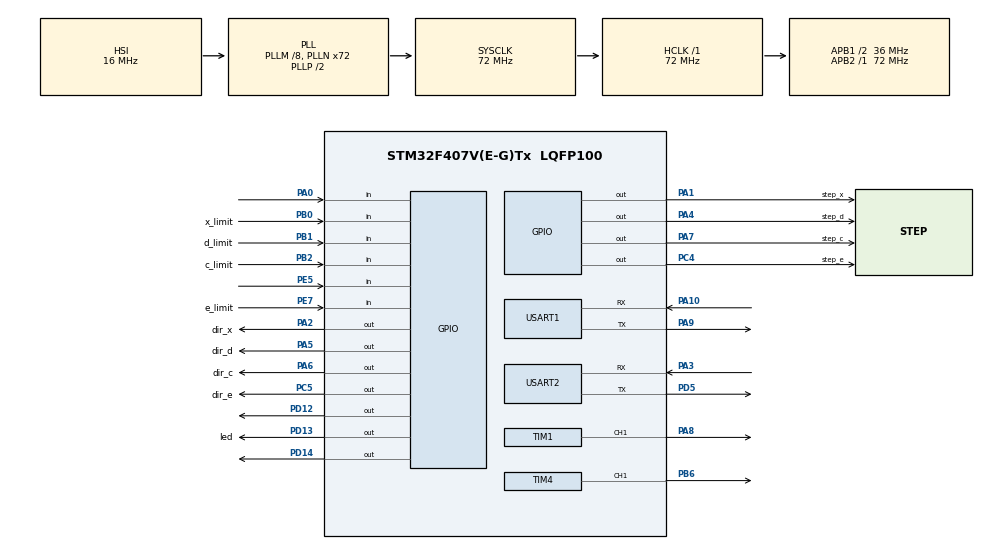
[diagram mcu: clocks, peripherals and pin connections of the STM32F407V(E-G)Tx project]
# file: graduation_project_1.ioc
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Mcu.Family=STM32F4
Mcu.Name=STM32F407V(E-G)Tx
Mcu.Package=LQFP100
NVIC.PriorityGroup=NVIC_PRIORITYGROUP_4
NVIC.USART1_IRQn=true\:0\:0\:false\:false\:true\:true\:true\:true
NVIC.USART2_IRQn=true\:0\:0\:false\:false\:true\:true\:true\:true
PA0-WKUP.Signal=GPIO_Input
PA1.GPIO_Label=step_x
PA1.Signal=GPIO_Output
PA10.Mode=Asynchronous
PA10.Signal=USART1_RX
PA13.Mode=Serial_Wire
PA13.Signal=SYS_JTMS-SWDIO
PA14.Mode=Serial_Wire
PA14.Signal=SYS_JTCK-SWCLK
PA2.GPIO_Label=dir_x
PA2.Signal=GPIO_Output
PA3.Mode=Asynchronous
PA3.Signal=USART2_RX
PA4.GPIO_Label=step_d
PA4.Signal=GPIO_Output
PA5.GPIO_Label=dir_d
PA5.Signal=GPIO_Output
PA6.GPIO_Label=dir_c
PA6.Signal=GPIO_Output
PA7.GPIO_Label=step_c
PA7.Signal=GPIO_Output
PA8.Signal=S_TIM1_CH1
PA9.Mode=Asynchronous
PA9.Signal=USART1_TX
PB0.GPIO_Label=x_limit
PB0.Signal=GPIO_Input
PB1.GPIO_Label=d_limit
PB1.Signal=GPIO_Input
PB2.GPIO_Label=c_limit
PB2.Signal=GPIO_Input
PB6.Signal=S_TIM4_CH1
PC4.GPIO_Label=step_e
PC4.Signal=GPIO_Output
PC5.GPIO_Label=dir_e
PC5.Signal=GPIO_Output
PD12.Signal=GPIO_Output
PD13.GPIO_Label=led
PD13.Signal=GPIO_Output
PD14.Signal=GPIO_Output
PD5.Mode=Asynchronous
PD5.Signal=USART2_TX
PE5.Signal=GPIO_Input
PE7.GPIO_Label=e_limit
PE7.Signal=GPIO_Input
PH0-OSC_IN.Mode=HSE-External-Oscillator
PH0-OSC_IN.Signal=RCC_OSC_IN
PH1-OSC_OUT.Mode=HSE-External-Oscillator
PH1-OSC_OUT.Signal=RCC_OSC_OUT
ProjectManager.HeapSize=0x200
ProjectManager.StackSize=0x400
ProjectManager.TargetToolchain=STM32CubeIDE
RCC.48MHZClocksFreq_Value=36000000
RCC.AHBFreq_Value=72000000
RCC.APB1CLKDivider=RCC_HCLK_DIV2
RCC.APB1Freq_Value=36000000
RCC.APB1TimFreq_Value=72000000
RCC.APB2Freq_Value=72000000
RCC.APB2TimFreq_Value=72000000
RCC.CortexFreq_Value=72000000
RCC.HCLKFreq_Value=72000000
RCC.HSE_VALUE=25000000
RCC.HSI_VALUE=16000000
RCC.LSE_VALUE=32768
RCC.PLLM=8
RCC.PLLN=72
RCC.SYSCLKFreq_VALUE=72000000
RCC.SYSCLKSource=RCC_SYSCLKSOURCE_PLLCLK
RCC.VCOOutputFreq_Value=144000000
SH.S_TIM1_CH1.0=TIM1_CH1,Output Compare1 CH1
SH.S_TIM4_CH1.0=TIM4_CH1,Output Compare1 CH1
TIM1.Channel-Output\ Compare1\ CH1=TIM_CHANNEL_1
TIM1.Period=0xffff-1
TIM1.Prescaler=72-1
TIM4.Channel-Output\ Compare1\ CH1=TIM_CHANNEL_1
USART1.VirtualMode=VM_ASYNC
USART2.VirtualMode=VM_ASYNC
VP_TIM1_VS_ClockSourceINT.Mode=Internal
board=custom

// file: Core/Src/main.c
/* USER CODE BEGIN Header */
/**
  ******************************************************************************
  * @file           : main.c
  * @brief          : Main program body
  ******************************************************************************
  * @attention
  *
  * Copyright (c) 2023 STMicroelectronics.
  * All rights reserved.
  *
  * This software is licensed under terms that can be found in the LICENSE file
  * in the root directory of this software component.
  * If no LICENSE file comes with this software, it is provided AS-IS.
  *
  ******************************************************************************
  */
/* USER CODE END Header */
#include "main.h"

/* USER CODE BEGIN Includes */
#include "string.h"
#include <stdio.h>
#include <stdlib.h>
/* USER CODE END Includes */

TIM_HandleTypeDef htim1;
TIM_HandleTypeDef htim4;

UART_HandleTypeDef huart1;
UART_HandleTypeDef huart2;

void SystemClock_Config(void);
static void MX_GPIO_Init(void);
static void MX_USART1_UART_Init(void);
static void MX_TIM1_Init(void);
static void MX_USART2_UART_Init(void);
static void MX_TIM4_Init(void);
/* USER CODE BEGIN PFP */
uint16_t timer_value;
char  *limit_message_y="X EKSENI SINIRDA!!!!!!!\n";
int stepNumber_x,stepNumber_e,stepNumber_d,stepNumber_c,rx_for_set[15];
float current_angel_x=0,current_angel_e=0,current_angel_c=0,current_angel_d=0;
int x_direction_flag_forward=0,x_direction_flag_backward=0,e_direction_flag_forward=0,e_direction_flag_backward=0,d_direction_flag_forward=0,d_direction_flag_backward=0,c_direction_flag_forward=0,c_direction_flag_backward=0;
uint8_t rx_tem_buffer[15],rx_buffer[15];
int interup_counter=0,tem_interup_counter=0;
int rx_step_x_int[2],rx_step_x_angel=0,step_num_check_x=0,step_num_check_e=0,step_num_check_d=0,step_num_check_c=0,for_counter_1=0,set_for_i_yeni_3=0,rx_for_set_int[5],rx_for_set_integer=0;
int rx_step_e_angel=0,rx_step_d_angel=0,rx_step_c_angel=0,rx_step_e_int[2],rx_step_d_int[2],rx_step_c_int[2];
int switch_konum_x=0,switch_konum_d=0,switch_konum_c=0,switch_konum_e=0;

/* USER CODE END PFP */

/* USER CODE BEGIN 0 */
void delay_us (uint16_t us)
{
	__HAL_TIM_SET_COUNTER(&htim1,0);  // set the counter value a 0
	while (__HAL_TIM_GET_COUNTER(&htim1) < us);  // wait for the counter to reach the us input in the parameter
	timer_value=__HAL_TIM_GET_COUNTER(&htim1);
}
//MOTOR X KONTROL SWITCH CASE
void fullStepRotate_x(int step){

			switch(step){

			case 0:
				HAL_GPIO_WritePin(GPIOA, GPIO_PIN_1, GPIO_PIN_SET);

			break;
		  case 1:
				HAL_GPIO_WritePin(GPIOA, GPIO_PIN_1, GPIO_PIN_RESET);

			break;
		}

	}
void move_function(){
	for(int i=0;i<5;i++){
//base motor function
	for(int seq=0; seq<=1500; seq++){
		if(HAL_GPIO_ReadPin(e_limit_GPIO_Port, e_limit_Pin)){
			break;
		}
		  HAL_GPIO_WritePin(GPIOC,dir_e_Pin,GPIO_PIN_SET);

		HAL_GPIO_WritePin(step_e_GPIO_Port,step_e_Pin ,GPIO_PIN_SET);
		delay_us(5000);
		HAL_GPIO_WritePin(step_e_GPIO_Port,step_e_Pin ,GPIO_PIN_RESET);
		delay_us(5000);
	}
	// motor d function

	for(int i=0;i<2000;i++){
		if(HAL_GPIO_ReadPin(d_limit_GPIO_Port, d_limit_Pin)){
			break;
		}

		HAL_GPIO_WritePin(dir_d_GPIO_Port,dir_d_Pin,GPIO_PIN_RESET);
		HAL_GPIO_WritePin(step_d_GPIO_Port,step_d_Pin ,GPIO_PIN_SET);
		delay_us(1000);
		HAL_GPIO_WritePin(step_d_GPIO_Port,step_d_Pin ,GPIO_PIN_RESET);
		delay_us(1000);
	}
	// motor x function
	for(int i=0;i<3400;i++){
		if(HAL_GPIO_ReadPin(x_limit_GPIO_Port, x_limit_Pin)){
			break;
		}
		HAL_GPIO_WritePin(dir_x_GPIO_Port,dir_x_Pin,GPIO_PIN_RESET);
		HAL_GPIO_WritePin(step_x_GPIO_Port,step_x_Pin ,GPIO_PIN_SET);
		delay_us(1000);
		HAL_GPIO_WritePin(step_x_GPIO_Port,step_x_Pin ,GPIO_PIN_RESET);
		delay_us(1000);
	}

	// motor x function

	// motor x function
	for(int i=0;i<1500;i++){
		if(HAL_GPIO_ReadPin(e_limit_GPIO_Port, e_limit_Pin)){
			break;
		}
		  HAL_GPIO_WritePin(GPIOC,dir_e_Pin,GPIO_PIN_RESET);

		HAL_GPIO_WritePin(step_e_GPIO_Port,step_e_Pin ,GPIO_PIN_SET);
		delay_us(5000);
		HAL_GPIO_WritePin(step_e_GPIO_Port,step_e_Pin ,GPIO_PIN_RESET);
		delay_us(5000);
	}
		for(int i=0;i<3400;i++){
		if(HAL_GPIO_ReadPin(x_limit_GPIO_Port, x_limit_Pin)){
			break;
		}
		HAL_GPIO_WritePin(dir_x_GPIO_Port,dir_x_Pin,GPIO_PIN_SET);

		HAL_GPIO_WritePin(step_x_GPIO_Port,step_x_Pin ,GPIO_PIN_SET);
		delay_us(1000);
		HAL_GPIO_WritePin(step_x_GPIO_Port,step_x_Pin ,GPIO_PIN_RESET);
		delay_us(1000);
	}
	//GERİ DÖNÜŞ
	for(int seq=0; seq<=1500; seq++){
		if(HAL_GPIO_ReadPin(e_limit_GPIO_Port, e_limit_Pin)){
			break;
		}
		  HAL_GPIO_WritePin(GPIOC,dir_e_Pin,GPIO_PIN_SET);

		HAL_GPIO_WritePin(step_e_GPIO_Port,step_e_Pin ,GPIO_PIN_SET);
		delay_us(5000);
		HAL_GPIO_WritePin(step_e_GPIO_Port,step_e_Pin ,GPIO_PIN_RESET);
		delay_us(5000);
	}
	// motor d function

	for(int i=0;i<2000;i++){
		if(HAL_GPIO_ReadPin(d_limit_GPIO_Port, d_limit_Pin)){
			break;
		}
		HAL_GPIO_WritePin(dir_d_GPIO_Port,dir_d_Pin,GPIO_PIN_SET);

		HAL_GPIO_WritePin(step_d_GPIO_Port,step_d_Pin ,GPIO_PIN_SET);
		delay_us(1000);
		HAL_GPIO_WritePin(step_d_GPIO_Port,step_d_Pin ,GPIO_PIN_RESET);
		delay_us(1000);
	}
	// motor x function
	for(int i=0;i<3400;i++){
		if(HAL_GPIO_ReadPin(x_limit_GPIO_Port, x_limit_Pin)){
			break;
		}
		HAL_GPIO_WritePin(dir_x_GPIO_Port,dir_x_Pin,GPIO_PIN_SET);

		HAL_GPIO_WritePin(step_x_GPIO_Port,step_x_Pin ,GPIO_PIN_SET);
		delay_us(1000);
		HAL_GPIO_WritePin(step_x_GPIO_Port,step_x_Pin ,GPIO_PIN_RESET);
		delay_us(1000);
	}

	// motor x function

	// motor e function
	for(int i=0;i<1500;i++){
		HAL_GPIO_WritePin(step_e_GPIO_Port,step_e_Pin ,GPIO_PIN_SET);
		delay_us(5000);
		HAL_GPIO_WritePin(step_e_GPIO_Port,step_e_Pin ,GPIO_PIN_RESET);
		delay_us(5000);
	}
	for(int i=0;i<3000;i++){
		if(HAL_GPIO_ReadPin(x_limit_GPIO_Port, x_limit_Pin)){
			break;
		}
		HAL_GPIO_WritePin(dir_d_GPIO_Port,dir_d_Pin,GPIO_PIN_RESET);

		HAL_GPIO_WritePin(step_x_GPIO_Port,step_x_Pin ,GPIO_PIN_SET);
		delay_us(1000);
		HAL_GPIO_WritePin(step_x_GPIO_Port,step_x_Pin ,GPIO_PIN_RESET);
		delay_us(1000);
	}

	}
}
void setStepper_x(int angle,int direction,int speed){
	float perAngle=1.8;//  360/200=1.8(per step angle)
	stepNumber_x=(int)(angle/perAngle);

	for(int seq=0; seq<=stepNumber_x; seq++){

		if(current_angel_x>8000){
			if(direction==1){// saat yonunun tersi
				HAL_GPIO_WritePin(GPIOA, GPIO_PIN_2, GPIO_PIN_SET);
				for(int step=4; step>=0; step--){
					if(HAL_GPIO_ReadPin(x_limit_GPIO_Port,x_limit_Pin)){
								current_angel_x=0;
								break;
							}

					fullStepRotate_x(step);
					x_direction_flag_backward=1;
					x_direction_flag_forward=0;
					delay_us(1000);
				}
				current_angel_x-=1.8;

		}
			break;
		}

		if(current_angel_x<8000){

			if(direction==0){
				HAL_GPIO_WritePin(GPIOA, dir_x_Pin, GPIO_PIN_RESET);
				HAL_GPIO_WritePin(GPIOD, GPIO_PIN_12, GPIO_PIN_RESET);

				for(int step=0; step<2; step++){//saat yonunde

					fullStepRotate_x(step);
					x_direction_flag_forward=1;
					x_direction_flag_backward=0;

					delay_us(1000);
				}
				current_angel_x+=1.8;

			}else if(direction==1){// saat yonunun tersi
				HAL_GPIO_WritePin(GPIOA, dir_x_Pin, GPIO_PIN_SET);
				HAL_GPIO_WritePin(GPIOD, GPIO_PIN_12, GPIO_PIN_SET);

				for(int step=0; step<2; step++){
					if(HAL_GPIO_ReadPin(x_limit_GPIO_Port,x_limit_Pin)){
								current_angel_x=0;

								break;

					}			fullStepRotate_x(step);
								x_direction_flag_backward=1;
								x_direction_flag_forward=0;
								delay_us(1000);

				}
				current_angel_x-=1.8;

			}

		}
		else{
			HAL_UART_Transmit(&huart1, (uint8_t*)limit_message_y,strlen(limit_message_y),100);

			if(direction==1){
				HAL_GPIO_WritePin(GPIOA, GPIO_PIN_2, GPIO_PIN_SET);

				for(int step=0; step<2; step++){
					fullStepRotate_x(step);
					delay_us(5000);
					x_direction_flag_backward=1;
					x_direction_flag_forward=0;
			}
				current_angel_x-=1.8;

		}
	}

}
	if(x_direction_flag_forward==1&&x_direction_flag_backward==0){
		//current_angel_x+=angle;
		x_direction_flag_forward=0;
		x_direction_flag_backward=0;
	}
	else if (x_direction_flag_forward==0&&x_direction_flag_backward==1){
		//current_angel_x-=angle;
		x_direction_flag_forward=0;
		x_direction_flag_backward=0;
	}
}

//MOTOR E KONTROL SWITCH CASE
void fullStepRotate_e(int step){

		switch(step){

			case 0:
				HAL_GPIO_WritePin(step_e_GPIO_Port,step_e_Pin, GPIO_PIN_SET);

			break;
		  case 1:
				HAL_GPIO_WritePin(step_e_GPIO_Port,step_e_Pin, GPIO_PIN_RESET);

			break;
		}

	}
//MOTOR D KONTROL SWITCH CASE

void fullStepRotate_d(int step){

		switch(step){

			case 0:
				HAL_GPIO_WritePin(GPIOA, step_d_Pin, GPIO_PIN_SET);

			break;
		  case 1:
				HAL_GPIO_WritePin(GPIOA, step_d_Pin, GPIO_PIN_RESET);

			break;
		}

	}
//MOTOR C KONTROL SWITCH CASE

void fullStepRotate_c(int step){

		switch(step){

			case 0:
				HAL_GPIO_WritePin(GPIOA, step_c_Pin, GPIO_PIN_SET);

			break;
		  case 1:
				HAL_GPIO_WritePin(GPIOA, step_c_Pin, GPIO_PIN_RESET);

			break;
		}

	}
void setStepper_e(int angle,int direction,int speed){
	float perAngle=1.8;//  360/200=1.8(per step angle)
	stepNumber_e=(int)(angle/perAngle);

	for(int seq=0; seq<=stepNumber_e; seq++){

		if(current_angel_e>18300){
			if(direction==1){// saat yonunun tersi
				HAL_GPIO_WritePin(dir_e_GPIO_Port, dir_e_Pin, GPIO_PIN_SET);

				for(int step=0; step<2; step++){
					fullStepRotate_e(step);
					e_direction_flag_backward=1;
					e_direction_flag_forward=0;
					delay_us(5000);
				}
				current_angel_e-=1.8;

		}
			break;
		}

		if(current_angel_e<18300){

			if(direction==0){
				HAL_GPIO_WritePin(dir_e_GPIO_Port, dir_e_Pin, GPIO_PIN_RESET);

				for(int step=0; step<2; step++){//saat yonunde
					fullStepRotate_e(step);
					e_direction_flag_forward=1;
					e_direction_flag_backward=0;

					delay_us(5000);
				}
				current_angel_e+=1.8;

			}else if(direction==1){// saat yonunun tersi
				HAL_GPIO_WritePin(dir_e_GPIO_Port, dir_e_Pin, GPIO_PIN_SET);

				for(int step=0; step<2; step++){
					fullStepRotate_e(step);
					e_direction_flag_backward=1;
					e_direction_flag_forward=0;
					delay_us(5000);
				}
				current_angel_e+=1.8;

			}

		}
		else{
			HAL_UART_Transmit(&huart2, (uint8_t*)limit_message_y,strlen(limit_message_y),100);

			if(direction==1){
				HAL_GPIO_WritePin(dir_e_GPIO_Port, dir_e_Pin, GPIO_PIN_SET);

				for(int step=0; step<2; step++){
					fullStepRotate_e(step);
					delay_us(5000);
					e_direction_flag_backward=1;
					e_direction_flag_forward=0;
			}
				current_angel_e-=1.8;

		}
	}

}
	if(e_direction_flag_forward==1&&e_direction_flag_backward==0){
		//current_angel_x+=angle;
		e_direction_flag_forward=0;
		e_direction_flag_backward=0;
	}
	else if (e_direction_flag_forward==0&&e_direction_flag_backward==1){
		//current_angel_x-=angle;
		e_direction_flag_forward=0;
		e_direction_flag_backward=0;
	}
}
//MOTOR D
void setStepper_d(int angle,int direction,int speed){
	float perAngle=1.8;//  360/200=1.8(per step angle)
	stepNumber_d=(int)(angle/perAngle);

	for(int seq=0; seq<=stepNumber_d; seq++){

		if(current_angel_d>5000){

			if(direction==1){// saat yonunun tersi
				HAL_GPIO_WritePin(GPIOA, dir_d_Pin, GPIO_PIN_SET);

				for(int step=0; step<2; step++){
					if(HAL_GPIO_ReadPin(d_limit_GPIO_Port,d_limit_Pin)){
						current_angel_d=0;
						break;

					}
					fullStepRotate_d(step);
					d_direction_flag_backward=1;
					d_direction_flag_forward=0;
					delay_us(600);
				}
				current_angel_d-=1.8;

		}
			break;
		}

		if(current_angel_d<5000){

			if(direction==0){
				HAL_GPIO_WritePin(GPIOA, dir_d_Pin, GPIO_PIN_RESET);

				for(int step=0; step<2; step++){//saat yonunde

					fullStepRotate_d(step);
					d_direction_flag_forward=1;
					d_direction_flag_backward=0;

					delay_us(600);
				}
				current_angel_d+=1.8;

				  char message[10];
				  sprintf(message, "Deger -D-: %d\r\n", (int)current_angel_d);
				  HAL_UART_Transmit(&huart2, (uint8_t*)message, strlen(message), 10);

			}else if(direction==1){// saat yonunun tersi
				HAL_GPIO_WritePin(GPIOA, dir_d_Pin, GPIO_PIN_SET);

				for(int step=0; step<2; step++){
					if(HAL_GPIO_ReadPin(GPIOB,d_limit_Pin)){
						current_angel_d=0;
						break;

					}
					fullStepRotate_d(step);
					d_direction_flag_backward=1;
					d_direction_flag_forward=0;
					delay_us(600);
				}
				current_angel_d-=1.8;

				  char message[10];
				  sprintf(message, "deger -D-: %d\r\n", (int)current_angel_d);
				  HAL_UART_Transmit(&huart2, (uint8_t*)message, strlen(message), 10);
			}

		}
		else{
			HAL_UART_Transmit(&huart1, (uint8_t*)limit_message_y,strlen(limit_message_y),100);

			if(direction==1){
				HAL_GPIO_WritePin(GPIOA, GPIO_PIN_2, GPIO_PIN_SET);
				if(HAL_GPIO_ReadPin(d_limit_GPIO_Port,d_limit_Pin)){
					current_angel_d=0;
					break;

				}

				for(int step=0; step<2; step++){
					fullStepRotate_d(step);
					delay_us(600);
					d_direction_flag_backward=1;
					d_direction_flag_forward=0;
			}
				current_angel_d-=1.8;

		}
	}

}
	if(d_direction_flag_forward==1&&d_direction_flag_backward==0){
		//current_angel_x+=angle;
		d_direction_flag_forward=0;
		d_direction_flag_backward=0;
	}
	else if (d_direction_flag_forward==0&&d_direction_flag_backward==1){
		//current_angel_x-=angle;
		d_direction_flag_forward=0;
		d_direction_flag_backward=0;
	}
}
//MOTOR C KONTROL
void setStepper_c(int angle,int direction,int speed){
	float perAngle=1.8;//  360/200=1.8(per step angle)
	stepNumber_c=(int)(angle/perAngle);

	for(int seq=0; seq<=stepNumber_c; seq++){

		if(current_angel_c>5000){

			if(direction==1){// saat yonunun tersi

				HAL_GPIO_WritePin(GPIOA, dir_c_Pin, GPIO_PIN_SET);

				for(int step=0; step<2; step++){

					fullStepRotate_c(step);
					c_direction_flag_backward=1;
					c_direction_flag_forward=0;
					delay_us(600);
				}
				current_angel_c-=1.8;

		}
			break;
		}

		if(current_angel_c<5000){

			if(direction==0){
				HAL_GPIO_WritePin(GPIOA, dir_c_Pin, GPIO_PIN_RESET);
				if(HAL_GPIO_ReadPin(c_limit_GPIO_Port,c_limit_Pin)){
					current_angel_c=0;
					break;
				}

				for(int step=0; step<2; step++){//saat yonunde
					fullStepRotate_c(step);
					c_direction_flag_forward=1;
					c_direction_flag_backward=0;

					delay_us(600);
				}
				current_angel_c+=1.8;

			}else if(direction==1){// saat yonunun tersi
				HAL_GPIO_WritePin(GPIOA, dir_c_Pin, GPIO_PIN_SET);

				for(int step=0; step<2; step++){
					fullStepRotate_c(step);
					c_direction_flag_backward=1;
					c_direction_flag_forward=0;
					delay_us(600);
				}
				current_angel_c-=1.8;

				step_num_check_c--;

		}
		else{
			HAL_UART_Transmit(&huart1, (uint8_t*)limit_message_y,strlen(limit_message_y),100);

			if(direction==1){
				HAL_GPIO_WritePin(GPIOA, dir_c_Pin, GPIO_PIN_SET);

				for(int step=0; step<2; step++){
					fullStepRotate_c(step);
					delay_us(600);
					c_direction_flag_backward=1;
					c_direction_flag_forward=0;
			}
				current_angel_c-=1.8;

		}
	}

}
	if(c_direction_flag_forward==1&&c_direction_flag_backward==0){
		//current_angel_x+=angle;
		c_direction_flag_forward=0;
		c_direction_flag_backward=0;
	}
	else if (c_direction_flag_forward==0&&c_direction_flag_backward==1){
		//current_angel_x-=angle;
		c_direction_flag_forward=0;
		c_direction_flag_backward=0;
	}
}}

void HAL_UART_RxCpltCallback(UART_HandleTypeDef *huart){
	if(huart==&huart2){
		rx_buffer[interup_counter]=rx_tem_buffer[0];
		interup_counter++;
	}
		HAL_UART_Receive_IT(&huart2, rx_tem_buffer, 1);
		if(rx_buffer[interup_counter-4]=='F'&&rx_buffer[interup_counter-3]=='F'&&rx_buffer[interup_counter-2]=='F'&&rx_buffer[interup_counter-1]=='F')
		{
			for_counter_1=0;
											for (int i=4;i<interup_counter;i++){
												for_counter_1++;
												if(rx_buffer[i]=='F'){
													break;
												}

											}
											for_counter_1=for_counter_1-1;

											for(int i=0; i<for_counter_1; i++){
											rx_for_set[set_for_i_yeni_3]=rx_buffer[i+4];
											rx_for_set_int[i]=0;
											rx_for_set_int[i]=atoi((char*)&rx_for_set[set_for_i_yeni_3]);

											set_for_i_yeni_3++;
											}

												if(for_counter_1==1){
												rx_for_set_integer=0;
												rx_for_set_integer=rx_for_set_integer+rx_for_set_int[0];
												}
												else if (for_counter_1==2){
												rx_for_set_integer=0;
												rx_for_set_integer=rx_for_set_integer+rx_for_set_int[0]*10;
												rx_for_set_integer=rx_for_set_integer+rx_for_set_int[1];
												}
												else if (for_counter_1==3){
												rx_for_set_integer=0;
												rx_for_set_integer=rx_for_set_integer+(rx_for_set_int[0]*100);
												rx_for_set_integer=rx_for_set_integer+(rx_for_set_int[1]*10);
												rx_for_set_integer=rx_for_set_integer+rx_for_set_int[2];
												}
												else if (for_counter_1==4){
												rx_for_set_integer=0;
												rx_for_set_integer=rx_for_set_integer+(rx_for_set_int[0]*1000);
												rx_for_set_integer=rx_for_set_integer+(rx_for_set_int[1]*100);
												rx_for_set_integer=rx_for_set_integer+(rx_for_set_int[2]*10);

												rx_for_set_integer=rx_for_set_integer+rx_for_set_int[3];

												}
												else if (for_counter_1==5){
												rx_for_set_integer=0;
												rx_for_set_integer=rx_for_set_integer+(rx_for_set_int[0]*10000);
												rx_for_set_integer=rx_for_set_integer+(rx_for_set_int[1]*1000);
												rx_for_set_integer=rx_for_set_integer+(rx_for_set_int[2]*100);
												rx_for_set_integer=rx_for_set_integer+(rx_for_set_int[3]*10);

												rx_for_set_integer=rx_for_set_integer+rx_for_set_int[3];

												}
												else if (for_counter_1==6){
												rx_for_set_integer=0;
												rx_for_set_integer=rx_for_set_integer+(rx_for_set_int[0]*100000);
												rx_for_set_integer=rx_for_set_integer+(rx_for_set_int[1]*10000);
												rx_for_set_integer=rx_for_set_integer+(rx_for_set_int[2]*100);
												rx_for_set_integer=rx_for_set_integer+(rx_for_set_int[3]*10);

												rx_for_set_integer=rx_for_set_integer+rx_for_set_int[4];

												}
			if(rx_buffer[0]=='8'&&rx_buffer[1]=='0'&&rx_buffer[2]=='E'&&rx_buffer[3]=='5')
			{

				for(int i=0;i<2;i++){
					rx_step_x_int[i]=atoi((char*)&rx_buffer[i+4]);

				}
				rx_step_x_angel=rx_step_x_int[0];
				setStepper_x(rx_for_set_integer,0,0);
			}
			else if(rx_buffer[0]=='8'&&rx_buffer[1]=='0'&&rx_buffer[2]=='E'&&rx_buffer[3]=='4')
						{
							for(int i=0;i<2;i++){
								rx_step_x_int[i]=atoi((char*)&rx_buffer[i+4]);

							}
							rx_step_x_angel=rx_step_x_int[0];
							setStepper_x(rx_for_set_integer,1,0);

						}
			else if(rx_buffer[0]=='8'&&rx_buffer[1]=='0'&&rx_buffer[2]=='D'&&rx_buffer[3]=='5')
						{
							for(int i=0;i<2;i++){
								rx_step_d_int[i]=atoi((char*)&rx_buffer[i+4]);

							}
							rx_step_d_angel=rx_step_d_int[0];
							setStepper_d(rx_for_set_integer,0,0);

						}
			else if(rx_buffer[0]=='8'&&rx_buffer[1]=='0'&&rx_buffer[2]=='D'&&rx_buffer[3]=='4')
						{
							for(int i=0;i<2;i++){
								rx_step_d_int[i]=atoi((char*)&rx_buffer[i+4]);

							}
							rx_step_d_angel=rx_step_d_int[0];
							setStepper_d(rx_for_set_integer,1,0);

						}
			else if(rx_buffer[0]=='8'&&rx_buffer[1]=='0'&&rx_buffer[2]=='C'&&rx_buffer[3]=='5')
						{
							for(int i=0;i<2;i++){
								rx_step_c_int[i]=atoi((char*)&rx_buffer[i+4]);

							}
							rx_step_c_angel=rx_step_c_int[0];
							setStepper_c(rx_for_set_integer,0,0);

						}
			else if(rx_buffer[0]=='8'&&rx_buffer[1]=='0'&&rx_buffer[2]=='C'&&rx_buffer[3]=='4')
						{
							for(int i=0;i<2;i++){
								rx_step_c_int[i]=atoi((char*)&rx_buffer[i+4]);

							}
							rx_step_c_angel=rx_step_c_int[0];
							setStepper_c(rx_for_set_integer,1,0);

						}
			else if(rx_buffer[0]=='8'&&rx_buffer[1]=='0'&&rx_buffer[2]=='X'&&rx_buffer[3]=='5')
						{
							for(int i=0;i<2;i++){
								rx_step_e_int[i]=atoi((char*)&rx_buffer[i+4]);

							}
							rx_step_e_angel=rx_step_e_int[0];
							setStepper_e(rx_for_set_integer,0,0);

						}
			else if(rx_buffer[0]=='8'&&rx_buffer[1]=='0'&&rx_buffer[2]=='X'&&rx_buffer[3]=='4')
						{
							for(int i=0;i<2;i++){
								rx_step_e_int[i]=atoi((char*)&rx_buffer[i+4]);

							}
							rx_step_e_angel=rx_step_e_int[0];
							setStepper_e(rx_for_set_integer,1,0);

						}
			else if(rx_buffer[0]=='8'&&rx_buffer[1]=='0'&&rx_buffer[2]=='S'&&rx_buffer[3]=='4')
						{

							move_function();

						}
			for(int z=0;z<10;z++){
				rx_buffer[z]=' ';
			}
			interup_counter=0;
		}

	}
void servo_control(int angle){
	if(angle<0){
		angle=0;
	}
	if(angle>180){
		angle=180;
		angle+=angle+45;
	}
}

/* USER CODE END 0 */

int main(void)
{

  /* MCU Configuration--------------------------------------------------------*/

  /* Reset of all peripherals, Initializes the Flash interface and the Systick. */
	HAL_Init();

  /* Configure the system clock */
  SystemClock_Config();

  /* Initialize all configured peripherals */
  MX_GPIO_Init();
  MX_USART1_UART_Init();
  MX_TIM1_Init();
  MX_USART2_UART_Init();
  MX_TIM4_Init();
  /* USER CODE BEGIN 2 */
  HAL_TIM_Base_Start(&htim1);
  HAL_UART_Receive_IT(&huart2, rx_tem_buffer, 1);
  HAL_TIM_PWM_Start(&htim4, TIM_CHANNEL_1);
  // MOTOR E HOME

  for(int i=0;i<5000;i++){
	  HAL_GPIO_WritePin(GPIOC,dir_e_Pin,GPIO_PIN_RESET);
	  if(HAL_GPIO_ReadPin(e_limit_GPIO_Port,e_limit_Pin)){
		  current_angel_e=0;
		  for (int i=0;i<50;i++){
			  HAL_GPIO_WritePin(GPIOC,dir_e_Pin,GPIO_PIN_SET);
			  HAL_GPIO_WritePin(GPIOC,step_e_Pin, GPIO_PIN_SET);
			  delay_us(3000);
			  HAL_GPIO_WritePin(GPIOC,step_e_Pin, GPIO_PIN_RESET);
			  delay_us(3000);

		  }
		  break;

		  }

	  HAL_GPIO_WritePin(GPIOC,step_e_Pin, GPIO_PIN_SET);
	  delay_us(3000);
	  HAL_GPIO_WritePin(GPIOC,step_e_Pin, GPIO_PIN_RESET);
	  delay_us(3000);
  }
  //motor 1home function
  for(int i=0;i<5000;i++){
	  HAL_GPIO_WritePin(GPIOA,dir_x_Pin,GPIO_PIN_SET);
	  if(HAL_GPIO_ReadPin(x_limit_GPIO_Port,x_limit_Pin)){
		  current_angel_x=0;
		  for (int i=0;i<50;i++){
			  HAL_GPIO_WritePin(GPIOA,dir_x_Pin,GPIO_PIN_RESET);
			  HAL_GPIO_WritePin(GPIOA,step_x_Pin, GPIO_PIN_SET);
			  delay_us(3000);
			  HAL_GPIO_WritePin(GPIOA,step_x_Pin, GPIO_PIN_RESET);
			  delay_us(3000);

		  }
		  break;

	  }
	  HAL_GPIO_WritePin(GPIOA,step_x_Pin, GPIO_PIN_SET);
	  delay_us(3000);
	  HAL_GPIO_WritePin(GPIOA,step_x_Pin, GPIO_PIN_RESET);
	  delay_us(3000);
	}
	 //MOTOR_D HOME
  for(int i=0;i<5000;i++){
	  HAL_GPIO_WritePin(GPIOA,dir_d_Pin,GPIO_PIN_SET);
	  if(HAL_GPIO_ReadPin(d_limit_GPIO_Port,d_limit_Pin)){
		  current_angel_d=0;

			  while(HAL_GPIO_ReadPin(d_limit_GPIO_Port,d_limit_Pin)){
				  HAL_GPIO_WritePin(GPIOA,step_d_Pin, GPIO_PIN_SET);
				  delay_us(600);
				  HAL_GPIO_WritePin(GPIOA,step_d_Pin, GPIO_PIN_RESET);
				  delay_us(600);

			  HAL_GPIO_WritePin(GPIOA,dir_d_Pin,GPIO_PIN_RESET);

		  }
		  break;

		  }

	  HAL_GPIO_WritePin(GPIOA,step_d_Pin, GPIO_PIN_SET);
	  delay_us(800);
	  HAL_GPIO_WritePin(GPIOA,step_d_Pin, GPIO_PIN_RESET);
	  delay_us(800);
  }

  //MOTOR C HOME
  for(int i=0;i<5000;i++){
	  HAL_GPIO_WritePin(GPIOA,dir_c_Pin,GPIO_PIN_RESET);
	  if(HAL_GPIO_ReadPin(c_limit_GPIO_Port,c_limit_Pin)){
		  current_angel_c=0;
		  for (int i=0;i<10;i++){
			  HAL_GPIO_WritePin(GPIOA,dir_c_Pin,GPIO_PIN_SET);
			  HAL_GPIO_WritePin(GPIOA,step_c_Pin, GPIO_PIN_SET);
			  delay_us(600);
			  HAL_GPIO_WritePin(GPIOA,step_c_Pin, GPIO_PIN_RESET);
			  delay_us(600);

		  }
		  break;

		  }

	  HAL_GPIO_WritePin(GPIOA,step_c_Pin, GPIO_PIN_SET);
	  delay_us(600);
	  HAL_GPIO_WritePin(GPIOA,step_c_Pin, GPIO_PIN_RESET);
	  delay_us(600);
  }

  //move_function();
  /* USER CODE END 2 */

  /* Infinite loop */
  while (1)
  {

    /* USER CODE BEGIN 3 */
	  HAL_GPIO_ReadPin(GPIOE, GPIO_PIN_5);
	  switch_konum_x=HAL_GPIO_ReadPin(x_limit_GPIO_Port, x_limit_Pin);
	  switch_konum_d=HAL_GPIO_ReadPin(d_limit_GPIO_Port, d_limit_Pin);
	  switch_konum_c=HAL_GPIO_ReadPin(c_limit_GPIO_Port,c_limit_Pin);
	  switch_konum_e=HAL_GPIO_ReadPin(e_limit_GPIO_Port, e_limit_Pin);

	  HAL_GPIO_WritePin(GPIOD, GPIO_PIN_12,GPIO_PIN_SET);

  }
  /* USER CODE END 3 */
}

void SystemClock_Config(void)
{
  RCC_OscInitTypeDef RCC_OscInitStruct = {0};
  RCC_ClkInitTypeDef RCC_ClkInitStruct = {0};

  /** Configure the main internal regulator output voltage
  */
  __HAL_RCC_PWR_CLK_ENABLE();
  __HAL_PWR_VOLTAGESCALING_CONFIG(PWR_REGULATOR_VOLTAGE_SCALE1);

  /** Initializes the RCC Oscillators according to the specified parameters
  * in the RCC_OscInitTypeDef structure.
  */
  RCC_OscInitStruct.OscillatorType = RCC_OSCILLATORTYPE_HSI;
  RCC_OscInitStruct.HSIState = RCC_HSI_ON;
  RCC_OscInitStruct.HSICalibrationValue = RCC_HSICALIBRATION_DEFAULT;
  RCC_OscInitStruct.PLL.PLLState = RCC_PLL_ON;
  RCC_OscInitStruct.PLL.PLLSource = RCC_PLLSOURCE_HSI;
  RCC_OscInitStruct.PLL.PLLM = 8;
  RCC_OscInitStruct.PLL.PLLN = 72;
  RCC_OscInitStruct.PLL.PLLP = RCC_PLLP_DIV2;
  RCC_OscInitStruct.PLL.PLLQ = 4;
  if (HAL_RCC_OscConfig(&RCC_OscInitStruct) != HAL_OK)
  {
    Error_Handler();
  }

  /** Initializes the CPU, AHB and APB buses clocks
  */
  RCC_ClkInitStruct.ClockType = RCC_CLOCKTYPE_HCLK|RCC_CLOCKTYPE_SYSCLK
                              |RCC_CLOCKTYPE_PCLK1|RCC_CLOCKTYPE_PCLK2;
  RCC_ClkInitStruct.SYSCLKSource = RCC_SYSCLKSOURCE_PLLCLK;
  RCC_ClkInitStruct.AHBCLKDivider = RCC_SYSCLK_DIV1;
  RCC_ClkInitStruct.APB1CLKDivider = RCC_HCLK_DIV2;
  RCC_ClkInitStruct.APB2CLKDivider = RCC_HCLK_DIV1;

  if (HAL_RCC_ClockConfig(&RCC_ClkInitStruct, FLASH_LATENCY_2) != HAL_OK)
  {
    Error_Handler();
  }
}

static void MX_TIM1_Init(void)
{

  TIM_ClockConfigTypeDef sClockSourceConfig = {0};
  TIM_MasterConfigTypeDef sMasterConfig = {0};
  TIM_OC_InitTypeDef sConfigOC = {0};
  TIM_BreakDeadTimeConfigTypeDef sBreakDeadTimeConfig = {0};

  htim1.Instance = TIM1;
  htim1.Init.Prescaler = 72-1;
  htim1.Init.CounterMode = TIM_COUNTERMODE_UP;
  htim1.Init.Period = 0xffff-1;
  htim1.Init.ClockDivision = TIM_CLOCKDIVISION_DIV1;
  htim1.Init.RepetitionCounter = 0;
  htim1.Init.AutoReloadPreload = TIM_AUTORELOAD_PRELOAD_DISABLE;
  if (HAL_TIM_Base_Init(&htim1) != HAL_OK)
  {
    Error_Handler();
  }
  sClockSourceConfig.ClockSource = TIM_CLOCKSOURCE_INTERNAL;
  if (HAL_TIM_ConfigClockSource(&htim1, &sClockSourceConfig) != HAL_OK)
  {
    Error_Handler();
  }
  if (HAL_TIM_OC_Init(&htim1) != HAL_OK)
  {
    Error_Handler();
  }
  sMasterConfig.MasterOutputTrigger = TIM_TRGO_RESET;
  sMasterConfig.MasterSlaveMode = TIM_MASTERSLAVEMODE_DISABLE;
  if (HAL_TIMEx_MasterConfigSynchronization(&htim1, &sMasterConfig) != HAL_OK)
  {
    Error_Handler();
  }
  sConfigOC.OCMode = TIM_OCMODE_TIMING;
  sConfigOC.Pulse = 0;
  sConfigOC.OCPolarity = TIM_OCPOLARITY_HIGH;
  sConfigOC.OCNPolarity = TIM_OCNPOLARITY_HIGH;
  sConfigOC.OCFastMode = TIM_OCFAST_DISABLE;
  sConfigOC.OCIdleState = TIM_OCIDLESTATE_RESET;
  sConfigOC.OCNIdleState = TIM_OCNIDLESTATE_RESET;
  if (HAL_TIM_OC_ConfigChannel(&htim1, &sConfigOC, TIM_CHANNEL_1) != HAL_OK)
  {
    Error_Handler();
  }
  sBreakDeadTimeConfig.OffStateRunMode = TIM_OSSR_DISABLE;
  sBreakDeadTimeConfig.OffStateIDLEMode = TIM_OSSI_DISABLE;
  sBreakDeadTimeConfig.LockLevel = TIM_LOCKLEVEL_OFF;
  sBreakDeadTimeConfig.DeadTime = 0;
  sBreakDeadTimeConfig.BreakState = TIM_BREAK_DISABLE;
  sBreakDeadTimeConfig.BreakPolarity = TIM_BREAKPOLARITY_HIGH;
  sBreakDeadTimeConfig.AutomaticOutput = TIM_AUTOMATICOUTPUT_DISABLE;
  if (HAL_TIMEx_ConfigBreakDeadTime(&htim1, &sBreakDeadTimeConfig) != HAL_OK)
  {
    Error_Handler();
  }
  HAL_TIM_MspPostInit(&htim1);

}

static void MX_TIM4_Init(void)
{

  TIM_MasterConfigTypeDef sMasterConfig = {0};
  TIM_OC_InitTypeDef sConfigOC = {0};

  htim4.Instance = TIM4;
  htim4.Init.Prescaler = 0;
  htim4.Init.CounterMode = TIM_COUNTERMODE_UP;
  htim4.Init.Period = 65535;
  htim4.Init.ClockDivision = TIM_CLOCKDIVISION_DIV1;
  htim4.Init.AutoReloadPreload = TIM_AUTORELOAD_PRELOAD_DISABLE;
  if (HAL_TIM_OC_Init(&htim4) != HAL_OK)
  {
    Error_Handler();
  }
  sMasterConfig.MasterOutputTrigger = TIM_TRGO_RESET;
  sMasterConfig.MasterSlaveMode = TIM_MASTERSLAVEMODE_DISABLE;
  if (HAL_TIMEx_MasterConfigSynchronization(&htim4, &sMasterConfig) != HAL_OK)
  {
    Error_Handler();
  }
  sConfigOC.OCMode = TIM_OCMODE_TIMING;
  sConfigOC.Pulse = 0;
  sConfigOC.OCPolarity = TIM_OCPOLARITY_HIGH;
  sConfigOC.OCFastMode = TIM_OCFAST_DISABLE;
  if (HAL_TIM_OC_ConfigChannel(&htim4, &sConfigOC, TIM_CHANNEL_1) != HAL_OK)
  {
    Error_Handler();
  }
  HAL_TIM_MspPostInit(&htim4);

}

static void MX_USART1_UART_Init(void)
{

  huart1.Instance = USART1;
  huart1.Init.BaudRate = 115200;
  huart1.Init.WordLength = UART_WORDLENGTH_8B;
  huart1.Init.StopBits = UART_STOPBITS_1;
  huart1.Init.Parity = UART_PARITY_NONE;
  huart1.Init.Mode = UART_MODE_TX_RX;
  huart1.Init.HwFlowCtl = UART_HWCONTROL_NONE;
  huart1.Init.OverSampling = UART_OVERSAMPLING_16;
  if (HAL_UART_Init(&huart1) != HAL_OK)
  {
    Error_Handler();
  }

}

static void MX_USART2_UART_Init(void)
{

  huart2.Instance = USART2;
  huart2.Init.BaudRate = 115200;
  huart2.Init.WordLength = UART_WORDLENGTH_8B;
  huart2.Init.StopBits = UART_STOPBITS_1;
  huart2.Init.Parity = UART_PARITY_NONE;
  huart2.Init.Mode = UART_MODE_TX_RX;
  huart2.Init.HwFlowCtl = UART_HWCONTROL_NONE;
  huart2.Init.OverSampling = UART_OVERSAMPLING_16;
  if (HAL_UART_Init(&huart2) != HAL_OK)
  {
    Error_Handler();
  }

}

static void MX_GPIO_Init(void)
{
  GPIO_InitTypeDef GPIO_InitStruct = {0};

  /* GPIO Ports Clock Enable */
  __HAL_RCC_GPIOE_CLK_ENABLE();
  __HAL_RCC_GPIOH_CLK_ENABLE();
  __HAL_RCC_GPIOA_CLK_ENABLE();
  __HAL_RCC_GPIOC_CLK_ENABLE();
  __HAL_RCC_GPIOB_CLK_ENABLE();
  __HAL_RCC_GPIOD_CLK_ENABLE();

  /*Configure GPIO pin Output Level */
  HAL_GPIO_WritePin(GPIOA, step_x_Pin|dir_x_Pin|step_d_Pin|dir_d_Pin
                          |dir_c_Pin|step_c_Pin, GPIO_PIN_RESET);

  /*Configure GPIO pin Output Level */
  HAL_GPIO_WritePin(GPIOC, step_e_Pin|dir_e_Pin, GPIO_PIN_RESET);

  /*Configure GPIO pin Output Level */
  HAL_GPIO_WritePin(GPIOD, GPIO_PIN_12|led_Pin|GPIO_PIN_14, GPIO_PIN_RESET);

  /*Configure GPIO pins : PE5 e_limit_Pin */
  GPIO_InitStruct.Pin = GPIO_PIN_5|e_limit_Pin;
  GPIO_InitStruct.Mode = GPIO_MODE_INPUT;
  GPIO_InitStruct.Pull = GPIO_NOPULL;
  HAL_GPIO_Init(GPIOE, &GPIO_InitStruct);

  /*Configure GPIO pin : PA0 */
  GPIO_InitStruct.Pin = GPIO_PIN_0;
  GPIO_InitStruct.Mode = GPIO_MODE_INPUT;
  GPIO_InitStruct.Pull = GPIO_NOPULL;
  HAL_GPIO_Init(GPIOA, &GPIO_InitStruct);

  /*Configure GPIO pins : step_x_Pin dir_x_Pin step_d_Pin dir_d_Pin
                           dir_c_Pin step_c_Pin */
  GPIO_InitStruct.Pin = step_x_Pin|dir_x_Pin|step_d_Pin|dir_d_Pin
                          |dir_c_Pin|step_c_Pin;
  GPIO_InitStruct.Mode = GPIO_MODE_OUTPUT_PP;
  GPIO_InitStruct.Pull = GPIO_NOPULL;
  GPIO_InitStruct.Speed = GPIO_SPEED_FREQ_LOW;
  HAL_GPIO_Init(GPIOA, &GPIO_InitStruct);

  /*Configure GPIO pins : step_e_Pin dir_e_Pin */
  GPIO_InitStruct.Pin = step_e_Pin|dir_e_Pin;
  GPIO_InitStruct.Mode = GPIO_MODE_OUTPUT_PP;
  GPIO_InitStruct.Pull = GPIO_NOPULL;
  GPIO_InitStruct.Speed = GPIO_SPEED_FREQ_LOW;
  HAL_GPIO_Init(GPIOC, &GPIO_InitStruct);

  /*Configure GPIO pins : x_limit_Pin d_limit_Pin c_limit_Pin */
  GPIO_InitStruct.Pin = x_limit_Pin|d_limit_Pin|c_limit_Pin;
  GPIO_InitStruct.Mode = GPIO_MODE_INPUT;
  GPIO_InitStruct.Pull = GPIO_NOPULL;
  HAL_GPIO_Init(GPIOB, &GPIO_InitStruct);

  /*Configure GPIO pins : PD12 led_Pin PD14 */
  GPIO_InitStruct.Pin = GPIO_PIN_12|led_Pin|GPIO_PIN_14;
  GPIO_InitStruct.Mode = GPIO_MODE_OUTPUT_PP;
  GPIO_InitStruct.Pull = GPIO_NOPULL;
  GPIO_InitStruct.Speed = GPIO_SPEED_FREQ_LOW;
  HAL_GPIO_Init(GPIOD, &GPIO_InitStruct);

}

void Error_Handler(void)
{
  __disable_irq();
  while (1)
  {
  }
}
